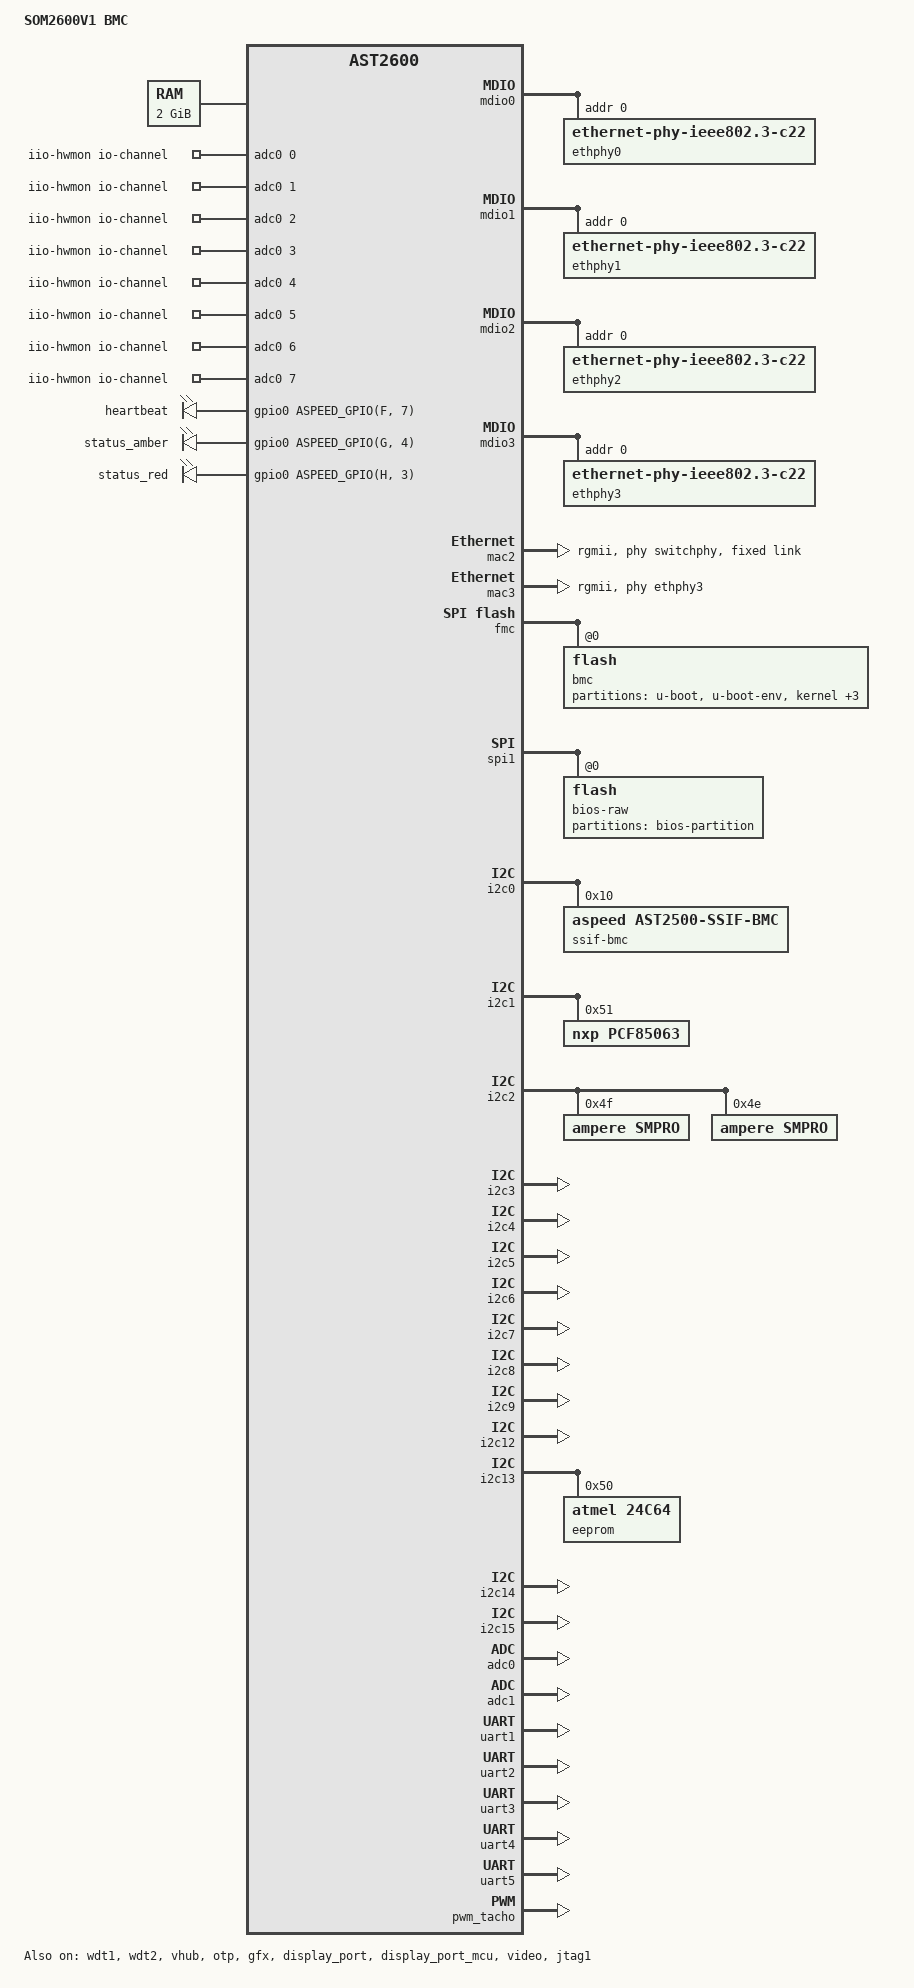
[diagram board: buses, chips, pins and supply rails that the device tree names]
// SPDX-License-Identifier: GPL-2.0+
// Copyright (c) 2021 Facebook Inc.
/dts-v1/;

#include "aspeed-g6.dtsi"
#include <dt-bindings/gpio/aspeed-gpio.h>
#include <dt-bindings/usb/pd.h>

/ {
	model = "SOM2600V1 BMC";
	compatible = "yandex,som2600v1-bmc", "aspeed,ast2600";

	aliases {
		serial4 = &uart5;
	};

	chosen {
		bootargs = "console=ttyS4,115200n8 rw earlyrintk";
	};

	memory@80000000 {
		device_type = "memory";
		reg = <0x80000000 0x80000000>;
	};

	reserved-memory {
		#address-cells = <1>;
		#size-cells = <1>;
		ranges;

		gfx_memory: framebuffer {
			size = <0x01000000>;
			alignment = <0x01000000>;
			compatible = "shared-dma-pool";
			reusable;
		};

		video_engine_memory: video {
			size = <0x04000000>;
			alignment = <0x01000000>;
			compatible = "shared-dma-pool";
			reusable;
		};

		ssp_memory: ssp_memory {
			size = <0x02000000>;
			alignment = <0x01000000>;
			compatible = "shared-dma-pool";
			no-map;
		};

		bmc_dev_memory: bmc_dev_memory {
			size = <0x00100000>;
			alignment = <0x00100000>;
			compatible = "shared-dma-pool";
			no-map;
		};

		/* 1GB memory */
		vga_memory: region@bf000000 {
			no-map;
			compatible = "shared-dma-pool";
			reg = <0xbf000000 0x01000000>;  /* 16M */
		};
	};

	vga-shared-memory {
		compatible = "aspeed,ast2500-vga-sharedmem";
		reg = <0xbff00000 0x100000>;
	};

	iio-hwmon {
		compatible = "iio-hwmon";
		io-channels = <&adc0 0>, <&adc0 1>, <&adc0 2>, <&adc0 3>,
			<&adc0 4>, <&adc0 5>, <&adc0 6>, <&adc0 7>,
			<&adc1 0>, <&adc1 1>, <&adc1 2>, <&adc1 3>,
			<&adc1 4>, <&adc1 5>, <&adc1 6>, <&adc1 7>;
	};

	leds {
		compatible = "gpio-leds";
		heartbeat {
			label = "heartbeat";
			gpios = <&gpio0 ASPEED_GPIO(F, 7) GPIO_ACTIVE_HIGH>;
			linux,default-trigger = "timer";
			active-delay = <100>;
			inactive-delay = <100>;
		};
		status_amber {
			label = "status_amber";
			gpios = <&gpio0 ASPEED_GPIO(G, 4) GPIO_ACTIVE_HIGH>;
			default-state = "off";
		};
		status_red {
			label = "status_red";
			gpios = <&gpio0 ASPEED_GPIO(H, 3) GPIO_ACTIVE_HIGH>;
			default-state = "off";
		};
	};

	switchphy: ethernet-phy@0 {
		// Fixed link
	};
};

&mdio0 {
	status = "okay";

	ethphy0: ethernet-phy@0 {
		compatible = "ethernet-phy-ieee802.3-c22";
		reg = <0>;
	};
};

&mdio1 {
	status = "okay";

	ethphy1: ethernet-phy@0 {
		compatible = "ethernet-phy-ieee802.3-c22";
		reg = <0>;
	};
};

&mdio2 {
	status = "okay";

	ethphy2: ethernet-phy@0 {
		compatible = "ethernet-phy-ieee802.3-c22";
		reg = <0>;
	};
};

&mdio3 {
	status = "okay";

	ethphy3: ethernet-phy@0 {
		compatible = "ethernet-phy-ieee802.3-c22";
		reg = <0>;
	};
};

&mac0 {
	status = "disabled";

	phy-mode = "rgmii-rxid";
	phy-handle = <&ethphy0>;

	pinctrl-names = "default";
	pinctrl-0 = <&pinctrl_rgmii1_default>;
};


&mac1 {
	status = "disabled";

	phy-mode = "rgmii-rxid";
	phy-handle = <&ethphy1>;

	pinctrl-names = "default";
	pinctrl-0 = <&pinctrl_rgmii2_default>;
};


&mac2 {
	status = "okay";

//	Not working
//	phy-mode = "rmii";
//	phy-handle = <&ethphy2>;
//	pinctrl-names = "default";
//	pinctrl-0 = <&pinctrl_rmii3_default>;

// Working
	phy-mode = "rgmii";
	phy-handle = <&switchphy>;
	fixed-link {
		speed = <10>;
		full-duplex;
	};
};

&mac3 {
	status = "okay";

	phy-mode = "rgmii";
	phy-handle = <&ethphy3>;

	pinctrl-names = "default";
	pinctrl-0 = <&pinctrl_rgmii4_default>;
};

&syscon {
	mac0-clk-delay = <0x10 0x0a
			  0x10 0x10
			  0x10 0x10>;
	mac1-clk-delay = <0x10 0x0a
			  0x10 0x10
			  0x10 0x10>;
	mac2-clk-delay = <0x08 0x04
			  0x08 0x04
			  0x08 0x04>;
	mac3-clk-delay = <0x08 0x04
			  0x08 0x04
			  0x08 0x04>;
};

&fmc {
	status = "okay";
	flash@0 {
		status = "okay";
		m25p,fast-read;
		label = "bmc";
		partitions {
			compatible = "fixed-partitions";
			#address-cells = <1>;
			#size-cells = <1>;

			u-boot@0 {
				reg = <0x0 0xe0000>; // 896KB
				label = "u-boot";
			};

			u-boot-env@e0000 {
				reg = <0xe0000 0x20000>; // 128KB
				label = "u-boot-env";
			};

			kernel@100000 {
				reg = <0x100000 0x900000>; // 9MB
				label = "kernel";
			};

			rofs@a00000 {
				reg = <0xa00000 0x2000000>; // 32MB
				label = "rofs";
			};

			rwfs@6000000 {
				reg = <0x2a00000 0xfc0000>; // 16MB
				label = "rwfs";
			};

			persistent@39c0000 {
				reg = <0x39c0000 0x640000>; // 6.4MB
				label = "persistent";
			};
		};
	};
};

&spi1 {
	status = "okay";
	pinctrl-names = "default";
	pinctrl-0 = <&pinctrl_spi1_default>;

	flash@0 {
		status = "okay";
		m25p,fast-read;

		label = "bios-raw";
		partitions {
			compatible = "fixed-partitions";
			#address-cells = <1>;
			#size-cells = <1>;
			uefi@400000 {
				reg = <0x400000 0x1C00000>;
				label = "bios-partition";
			};
		};
	};
};

&spi2 {
	status = "disabled";
	pinctrl-names = "default";
	pinctrl-0 = <&pinctrl_spi2_default>;

	flash@0 {
		status = "okay";
		m25p,fast-read;
		label = "bios2";
		spi-max-frequency = <50000000>;
	};
};

&i2c0 {
	status = "okay";
	ssif-bmc@10 {
		compatible = "aspeed,ast2500-ssif-bmc";
		reg = <0x10>;
	};
};

&i2c1 {
	status = "okay";

	pcf85063: rtc@51 {
		compatible = "nxp,pcf85063";
		reg = <0x51>;
		quartz-load-femtofarads = <7000>;
	};
};

&i2c2 {
	status = "okay";
	smpro@4f {
		compatible = "ampere,smpro";
		reg = <0x4f>;
	};
    smpro@4e {
		compatible = "ampere,smpro";
		reg = <0x4e>;
	};
};

&i2c3 {
	status = "okay";
};

&i2c4 {
	status = "okay";
};

&i2c5 {
	status = "okay";
};

&i2c6 {
	status = "okay";
};

&i2c7 {
	status = "okay";
};

&i2c8 {
	status = "okay";
};

&i2c9 {
	status = "okay";
};

&i2c10 {
	status = "disabled";
};

&i2c11 {
	status = "disabled";
};

&i2c12 {
	status = "okay";
};

&i2c13 {
	status = "okay";
	eeprom@50 {
		compatible = "atmel,24c64";
		reg = <0x50>;
	};
};

&i2c14 {
	status = "okay";
};

&i2c15 {
	status = "okay";
};

&gpio0 {
	status = "okay";
	gpio-line-names =
	/* A0-A7 */ "A0","A1","A2","A3","A4","A5","A6","A7",
	/* B0-B7 */ "B0","B1","B2","B3","B4","B5","B6","B7",
	/* C0-C7 */ "C0","C1","C2","C3","C4","C5","C6","C7",
	/* D0-D7 */ "D0","D1","D2","D3","D4","D5","D6","D7",
	/* E0-E7 */ "E0","E1","E2","E3","E4","E5","E6","E7",
	/* F0-F7 */ "F0","F1","F2","F3","F4","F5","F6","F7",
	/* G0-G7 */ "G0","G1","G2","G3","G4","G5","G6","G7",
	/* H0-H7 */ "H0","H1","H2","H3","H4","H5","H6","H7",
	/* I0-I7 */ "I0","I1","I2","I3","I4","I5","I6","I7",
	/* J0-J7 */ "J0","J1","J2","J3","J4","J5","J6","J7",
	/* K0-K7 */ "K0","K1","K2","K3","K4","K5","K6","K7",
	/* L0-L7 */ "L0","L1","L2","L3","L4","L5","L6","L7",
	/* M0-M7 */ "M0","M1","M2","M3","M4","M5","M6","M7",
	/* N0-N7 */ "N0","N1","N2","N3","N4","N5","N6","N7",
	/* O0-O7 */ "O0","O1","O2","O3","O4","O5","O6","O7",
	/* P0-P7 */ "BIOS_SEL","P1","P2","P3","P4","P5","P6","P7",
	/* Q0-Q7 */ "Q0","Q1","Q2","Q3","Q4","Q5","Q6","Q7",
	/* R0-R7 */ "R0","R1","R2","R3","R4","R5","R6","R7",
	/* S0-S7 */ "S0","S1","S2","S3","S4","S5","S6","S7",
	/* T0-T7 */ "T0","T1","T2","T3","T4","T5","T6","T7",
	/* U0-U7 */ "U0","U1","U2","U3","U4","U5","U6","U7",
	/* V0-V7 */ "V0","V1","V2","V3","V4","V5","V6","V7",
	/* W0-W7 */ "W0","W1","W2","W3","W4","W5","W6","W7",
	/* X0-X7 */ "X0","X1","X2","X3","X4","X5","X6","X7",
	/* Y0-Y7 */ "Y0","Y1","Y2","Y3","Y4","Y5","Y6","Y7",
	/* Z0-Z7 */ "BIOS_BACKUP_SEL","Z1","Z2","Z3","Z4","Z5","Z6","Z7";
};

&adc0 {
	vref = <1800>;
	status = "okay";

	pinctrl-names = "default";
	pinctrl-0 = <&pinctrl_adc0_default &pinctrl_adc1_default
		&pinctrl_adc2_default &pinctrl_adc3_default
		&pinctrl_adc4_default &pinctrl_adc5_default
		&pinctrl_adc6_default &pinctrl_adc7_default>;
};

&adc1 {
	vref = <2500>;
	status = "okay";

	pinctrl-names = "default";
	pinctrl-0 = <&pinctrl_adc8_default &pinctrl_adc9_default
		&pinctrl_adc10_default &pinctrl_adc11_default
		&pinctrl_adc12_default &pinctrl_adc13_default
		&pinctrl_adc14_default &pinctrl_adc15_default>;
};

&uart1 {
	status = "okay";
	pinctrl-names = "default";
	pinctrl-0 = <&pinctrl_txd1_default
			&pinctrl_rxd1_default
			&pinctrl_ncts1_default
			&pinctrl_nrts1_default>;
};

&uart2 {
	status = "okay";
	pinctrl-names = "default";
	pinctrl-0 = <&pinctrl_txd2_default
			&pinctrl_rxd2_default>;
};

&uart3 {
	status = "okay";
	pinctrl-names = "default";
	pinctrl-0 = <&pinctrl_txd3_default
			&pinctrl_rxd3_default>;
};

&uart4 {
	status = "okay";
	pinctrl-names = "default";
	pinctrl-0 = <&pinctrl_txd4_default
			&pinctrl_rxd4_default>;
};

/* The BMC's uart */
&uart5 {
	status = "okay";
};


&wdt1 {
	status = "okay";
	aspeed,reset-type = "soc";
};

&wdt2 {
	status = "okay";
	aspeed,reset-type = "soc";
};

&wdt3 {
	status = "disabled";
};

&mbox {
	status = "okay";
};

&pwm_tacho {
   status = "okay";
   pinctrl-names = "default";
   pinctrl-0 = <&pinctrl_pwm0_default &pinctrl_tach0_default
		   &pinctrl_pwm1_default &pinctrl_tach1_default
		   &pinctrl_pwm2_default &pinctrl_tach2_default
		   &pinctrl_pwm3_default &pinctrl_tach3_default
		   &pinctrl_pwm4_default &pinctrl_tach4_default
		   &pinctrl_pwm5_default &pinctrl_tach5_default
		   &pinctrl_pwm6_default &pinctrl_tach6_default
		   &pinctrl_pwm7_default &pinctrl_tach7_default>;

   fan@0 {
	   reg = <0x00>;
	   aspeed,fan-tach-ch = /bits/ 8 <0x00>;
   };

   fan@1 {
	   reg = <0x01>;
	   aspeed,fan-tach-ch = /bits/ 8 <0x01>;
   };

   fan@2 {
	   reg = <0x02>;
	   aspeed,fan-tach-ch = /bits/ 8 <0x02>;
   };

   fan@3 {
	   reg = <0x03>;
	   aspeed,fan-tach-ch = /bits/ 8 <0x03>;
   };

   fan@4 {
	   reg = <0x04>;
	   aspeed,fan-tach-ch = /bits/ 8 <0x04>;
   };

   fan@5 {
	   reg = <0x05>;
	   aspeed,fan-tach-ch = /bits/ 8 <0x05>;
   };

   fan@6 {
	   reg = <0x06>;
	   aspeed,fan-tach-ch = /bits/ 8 <0x06>;
   };

   fan@7 {
	   reg = <0x07>;
	   aspeed,fan-tach-ch = /bits/ 8 <0x07>;
   };
};

&vhub {
	status = "okay";
//  Disable PCIe EHCI port as it doesn't work
//	pinctrl-names = "default";
//	pinctrl-0 = <&pinctrl_usb2adp_default>;
};

&ehci0 {
	status = "disabled";
};

&ehci1 {
	status = "disabled";
};

&otp {
	status = "okay";
};

&gfx {
	pcie-reset-detect;
	memory-region = <&gfx_memory>;
	status = "okay";
};

&display_port {
	status = "okay";
};

&display_port_mcu {
	status = "okay";
};

/*
&rvas {
	status = "okay";
	memory-region = <&rvas_memory>;
};
*/

&video {
	status = "okay";
	memory-region = <&video_engine_memory>;
};

&jtag1 {
	status = "okay";
};


&pinctrl {
	aspeed,external-nodes = <&gfx &lhc>;
};

/* Uncomment to enable AST2600 HACE/ACRY */
/*
&hace {
	status = "okay";
	dummy-key1 = /bits/ 8 <0x15 0x89 0x87 0x89 0xFA 0x42 0xA2 0x1D 0xCE 0x85 0x78 0x1A 0x39 0xFA 0xD7 0x5B 0xFD 0x65 0x32 0xC5 0x25 0x6B 0x34 0xCC 0xEE 0x70 0x03 0x23 0x29 0x06 0x57 0xD0>;
	dummy-key2 = /bits/ 8 <0x02 0x89 0x87 0x89 0xFA 0x42 0xA2 0x1D 0xCE 0x85 0x78 0x1A 0x39 0xFA 0xD7 0x5B 0xFD 0x65 0x32 0xC5 0x25 0x6B 0x34 0xCC 0xEE 0x70 0x03 0x23 0x29 0x06 0x57 0xD0>;
};

&acry {
	status = "okay";
};
*/
